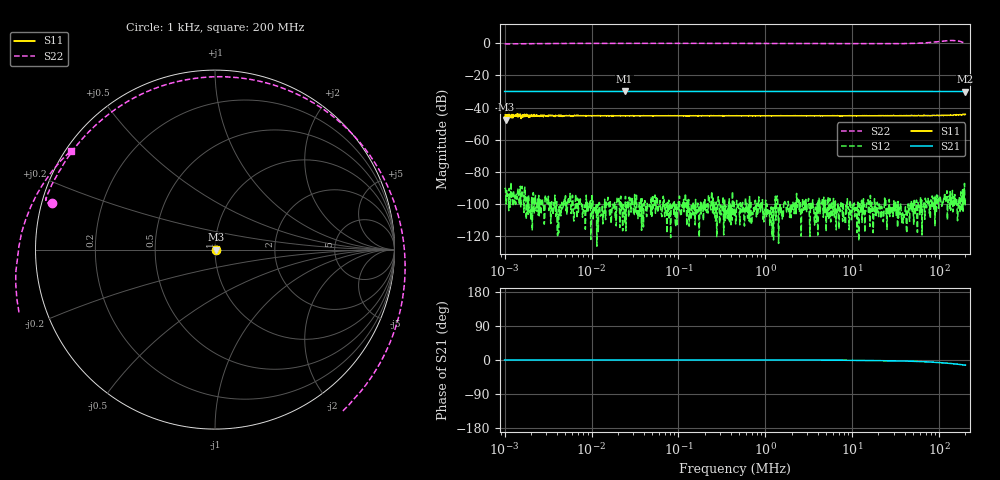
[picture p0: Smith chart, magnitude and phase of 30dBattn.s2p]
! ListType=Log
# MHZ S RI R 50
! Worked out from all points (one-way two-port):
!   1000 points, 1 kHz to 200 MHz, reference 50 ohm
!   highest |S21| = -29.94 dB at 23.97 kHz (marker M1); lowest = -30.0 dB at 197.6 MHz (marker M2)
!   lowest |S11| = -47.6 dB at 1.05 kHz (marker M3), VSWR 1.01, Z = 50.4 + j0.024 ohm
!   |S11| at or under -10 dB: start of sweep to end of sweep
!   |S22| runs from -0.5 to 1.7 dB; largest |S21 - S12| = 0.032
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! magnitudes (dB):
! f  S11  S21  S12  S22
! 1 kHz  -45.6  -30.0  -89.9  -0.5
! 1.05 kHz  -47.6  -30.0  -94.9  -0.5
! 1.261 kHz  -44.2  -30.0  -91.4  -0.4
! 1.341 kHz  -45.4  -30.0  -100.1  -0.4
! 1.443 kHz  -45.8  -30.0  -94.7  -0.4
! 1.534 kHz  -45.3  -30.0  -102.0  -0.4
! 1.754 kHz  -44.3  -30.0  -94.5  -0.4
! 1.888 kHz  -46.1  -30.0  -94.4  -0.4
! 2.967 kHz  -45.4  -30.0  -96.7  -0.3
! 3.393 kHz  -44.7  -30.0  -112.0  -0.2
! 3.881 kHz  -44.8  -30.0  -107.5  -0.2
! 7.694 kHz  -45.0  -30.0  -101.3  -0.2
! 23.97 kHz  -45.0  -29.9  -107.1  -0.1
! 58.48 kHz  -45.1  -30.0  -102.4  -0.1
! 450 kHz  -45.2  -30.0  -102.7  -0.2
! 3.42 MHz  -45.2  -30.0  -102.6  -0.2
! 26.31 MHz  -45.1  -30.0  -106.0  -0.4
! 61.89 MHz  -45.0  -30.0  -105.1  0.0
! 140.3 MHz  -44.7  -30.0  -94.9  1.6
! 166.5 MHz  -44.6  -30.0  -98.2  1.3
! 197.6 MHz  -44.1  -30.0  -100.9  -0.1
! 200 MHz  -44.2  -30.0  -96.8  -0.2
